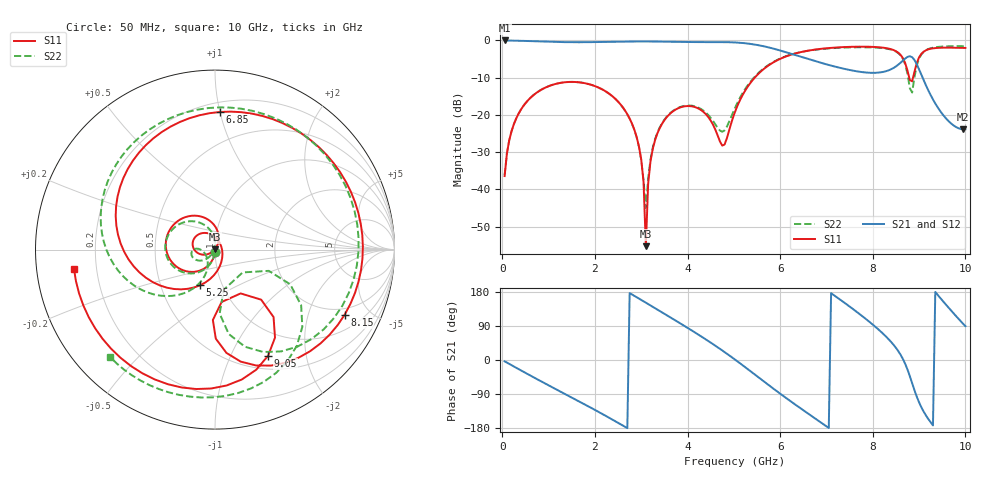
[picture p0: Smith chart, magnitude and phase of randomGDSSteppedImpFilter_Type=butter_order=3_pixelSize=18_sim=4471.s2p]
! freq	dB(S11)	phase(S11)	dB(S12)	phase(S12)
!  dB(S21)	phase(S21)	dB(S22)	phase(S22)
!S-par simulation data
#  GHz  S  DB  R 50
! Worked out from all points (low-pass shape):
!   200 points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, 50 MHz to 10 GHz, reference 50 ohm
!   highest |S21| = -0.01 dB at 50 MHz (marker M1); lowest = -23.9 dB at 9.95 GHz (marker M2)
!   |S21| within 3 dB of the highest: start of sweep to 6.084 GHz
!   lowest |S11| = -55.2 dB at 3.1 GHz (marker M3), VSWR 1.00, Z = 49.9 + j0.136 ohm
!   |S11| at or under -10 dB: start of sweep to 5.45 GHz; 8.787 GHz to 8.869 GHz (81.44 MHz wide, 0.923 % of centre)
!   |S22| runs from -44.9 to -1.5 dB; largest |S21 - S12| = 0
!   S11 on the Smith chart (normalised r, x): 50 MHz: 1.00, -0.03; 5.25 GHz: 0.79, -0.33; 6.85 GHz: 0.27, +1.00; 8.15 GHz: 1.66, -3.48; 9.05 GHz: 0.66, -1.40; 10 GHz: 0.12, -0.07
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0.05  -36.40 -92.7  -0.01 -3.5  -0.01 -3.5  -36.20 -92.4
0.5  -16.86 -125.6  -0.14 -34.0  -0.14 -34.0  -16.85 -122.9
1.75  -11.40 149.2  -0.48 -115.3  -0.48 -115.3  -11.40 159.8
2.85  -23.91 70.9  -0.26 169.4  -0.26 169.4  -23.96 93.7
3.05  -37.95 61.2  -0.27 154.9  -0.27 154.9  -37.66 101.4
3.1  -55.22 128.4  -0.27 151.3  -0.27 151.3  -44.95 167.9
3.2  -32.46 -141.2  -0.28 144.0  -0.28 144.0  -31.95 -127.0
3.4  -23.50 -154.7  -0.32 129.4  -0.32 129.4  -23.34 -131.9
4.2  -18.07 137.4  -0.44 69.6  -0.44 69.6  -17.85 -176.0
4.75  -28.23 24.2  -0.44 25.2  -0.44 25.2  -24.50 -151.2
5.05  -18.38 -84.5  -0.56 -1.1  -0.56 -1.1  -17.44 -111.1
5.25  -13.37 -112.5  -0.76 -19.4  -0.76 -19.4  -12.94 -116.7
5.85  -5.91 -178.7  -2.18 -75.2  -2.18 -75.2  -5.80 -159.8
6.7  -2.55 101.0  -5.35 -149.6  -5.35 -149.6  -2.59 131.1
6.85  -2.30 87.8  -5.90 -162.3  -5.90 -162.3  -2.36 118.6
7.5  -1.73 31.7  -7.93 141.1  -7.93 141.1  -1.87 60.7
8.15  -1.85 -26.7  -8.60 77.6  -8.60 77.6  -1.99 -6.4
8.35  -2.21 -47.0  -7.98 53.9  -7.98 53.9  -2.33 -29.9
8.75  -8.13 -91.7  -4.42 -25.2  -4.42 -25.2  -8.93 -85.9
9.05  -3.59 -63.5  -9.24 -125.0  -9.24 -125.0  -3.75 -41.5
9.95  -2.00 -167.2  -23.86 95.7  -23.86 95.7  -1.53 -130.8
10  -2.01 -172.3  -23.83 89.3  -23.83 89.3  -1.56 -134.4
